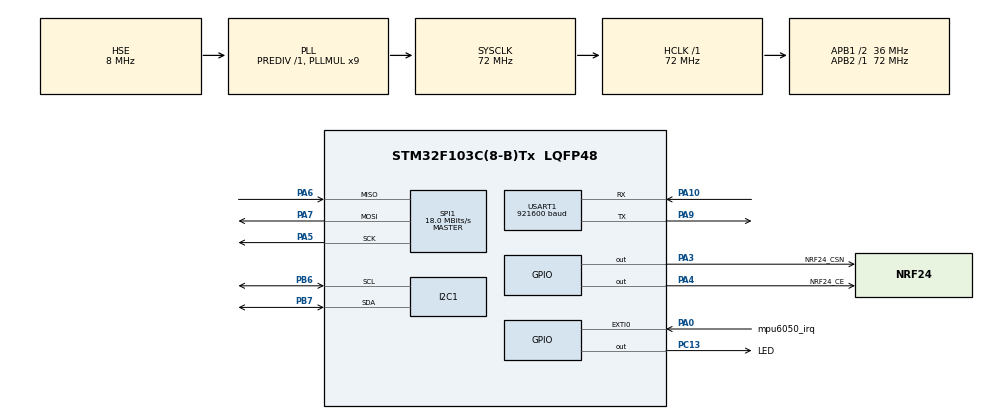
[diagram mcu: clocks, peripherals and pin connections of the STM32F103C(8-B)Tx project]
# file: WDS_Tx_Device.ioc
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I2C1.I2C_Mode=I2C_Fast
Mcu.Family=STM32F1
Mcu.Name=STM32F103C(8-B)Tx
Mcu.Package=LQFP48
NVIC.EXTI0_IRQn=true\:0\:0\:false\:false\:true\:true
NVIC.I2C1_EV_IRQn=true\:0\:0\:false\:false\:true\:true
NVIC.PriorityGroup=NVIC_PRIORITYGROUP_4
NVIC.USART1_IRQn=true\:0\:0\:false\:false\:true\:true
PA0-WKUP.GPIO_Label=mpu6050_irq
PA0-WKUP.Signal=GPXTI0
PA10.Mode=Asynchronous
PA10.Signal=USART1_RX
PA13.Mode=Serial_Wire
PA13.Signal=SYS_JTMS-SWDIO
PA14.Mode=Serial_Wire
PA14.Signal=SYS_JTCK-SWCLK
PA3.GPIO_Label=NRF24_CSN
PA3.GPIO_PuPd=GPIO_PULLUP
PA3.Signal=GPIO_Output
PA4.GPIO_Label=NRF24_CE
PA4.GPIO_PuPd=GPIO_PULLUP
PA4.Signal=GPIO_Output
PA5.Mode=Full_Duplex_Master
PA5.Signal=SPI1_SCK
PA6.GPIO_PuPd=GPIO_PULLDOWN
PA6.Mode=Full_Duplex_Master
PA6.Signal=SPI1_MISO
PA7.Mode=Full_Duplex_Master
PA7.Signal=SPI1_MOSI
PA9.Mode=Asynchronous
PA9.Signal=USART1_TX
PB6.Mode=I2C
PB6.Signal=I2C1_SCL
PB7.Mode=I2C
PB7.Signal=I2C1_SDA
PC13-TAMPER-RTC.GPIO_Label=LED
PC13-TAMPER-RTC.Signal=GPIO_Output
PC14-OSC32_IN.Mode=LSE-External-Oscillator
PC14-OSC32_IN.Signal=RCC_OSC32_IN
PC15-OSC32_OUT.Mode=LSE-External-Oscillator
PC15-OSC32_OUT.Signal=RCC_OSC32_OUT
PD0-OSC_IN.Mode=HSE-External-Oscillator
PD0-OSC_IN.Signal=RCC_OSC_IN
PD1-OSC_OUT.Mode=HSE-External-Oscillator
PD1-OSC_OUT.Signal=RCC_OSC_OUT
ProjectManager.HeapSize=0x200
ProjectManager.StackSize=0x400
ProjectManager.TargetToolchain=SW4STM32
RCC.AHBFreq_Value=72000000
RCC.APB1CLKDivider=RCC_HCLK_DIV2
RCC.APB1Freq_Value=36000000
RCC.APB1TimFreq_Value=72000000
RCC.APB2Freq_Value=72000000
RCC.APB2TimFreq_Value=72000000
RCC.HCLKFreq_Value=72000000
RCC.PLLMUL=RCC_PLL_MUL9
RCC.PLLSourceVirtual=RCC_PLLSOURCE_HSE
RCC.SYSCLKFreq_VALUE=72000000
RCC.SYSCLKSource=RCC_SYSCLKSOURCE_PLLCLK
RCC.USBFreq_Value=72000000
SPI1.BaudRatePrescaler=SPI_BAUDRATEPRESCALER_4
SPI1.CalculateBaudRate=18.0 MBits/s
SPI1.Direction=SPI_DIRECTION_2LINES
SPI1.Mode=SPI_MODE_MASTER
SPI1.VirtualType=VM_MASTER
TIM1.Period=65535
TIM1.Prescaler=719
USART1.BaudRate=921600
USART1.VirtualMode=VM_ASYNC
VP_TIM1_VS_ClockSourceINT.Mode=Internal
board=custom

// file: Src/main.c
/* USER CODE BEGIN Header */
/**
  ******************************************************************************
  * @file           : main.c
  * @brief          : Main program body
  ******************************************************************************
  ** This notice applies to any and all portions of this file
  * that are not between comment pairs USER CODE BEGIN and
  * USER CODE END. Other portions of this file, whether
  * inserted by the user or by software development tools
  * are owned by their respective copyright owners.
  *
  * COPYRIGHT(c) 2019 STMicroelectronics
  *
  * Redistribution and use in source and binary forms, with or without modification,
  * are permitted provided that the following conditions are met:
  *   1. Redistributions of source code must retain the above copyright notice,
  *      this list of conditions and the following disclaimer.
  *   2. Redistributions in binary form must reproduce the above copyright notice,
  *      this list of conditions and the following disclaimer in the documentation
  *      and/or other materials provided with the distribution.
  *   3. Neither the name of STMicroelectronics nor the names of its contributors
  *      may be used to endorse or promote products derived from this software
  *      without specific prior written permission.
  *
  * THIS SOFTWARE IS PROVIDED BY THE COPYRIGHT HOLDERS AND CONTRIBUTORS "AS IS"
  * AND ANY EXPRESS OR IMPLIED WARRANTIES, INCLUDING, BUT NOT LIMITED TO, THE
  * IMPLIED WARRANTIES OF MERCHANTABILITY AND FITNESS FOR A PARTICULAR PURPOSE ARE
  * DISCLAIMED. IN NO EVENT SHALL THE COPYRIGHT HOLDER OR CONTRIBUTORS BE LIABLE
  * FOR ANY DIRECT, INDIRECT, INCIDENTAL, SPECIAL, EXEMPLARY, OR CONSEQUENTIAL
  * DAMAGES (INCLUDING, BUT NOT LIMITED TO, PROCUREMENT OF SUBSTITUTE GOODS OR
  * SERVICES; LOSS OF USE, DATA, OR PROFITS; OR BUSINESS INTERRUPTION) HOWEVER
  * CAUSED AND ON ANY THEORY OF LIABILITY, WHETHER IN CONTRACT, STRICT LIABILITY,
  * OR TORT (INCLUDING NEGLIGENCE OR OTHERWISE) ARISING IN ANY WAY OUT OF THE USE
  * OF THIS SOFTWARE, EVEN IF ADVISED OF THE POSSIBILITY OF SUCH DAMAGE.
  *
  ******************************************************************************
  */
/* USER CODE END Header */

#include "main.h"

/* USER CODE BEGIN Includes */
#include "mpu6050.h"
#include "nrf24.h"
/* USER CODE END Includes */

I2C_HandleTypeDef hi2c1;

SPI_HandleTypeDef hspi1;

TIM_HandleTypeDef htim1;

UART_HandleTypeDef huart1;

/* USER CODE BEGIN PV */
mpu6050_t mpu;
int16_t accel_axes[3];
uint8_t new_data_flag = 0;
/* USER CODE END PV */

void SystemClock_Config(void);
static void MX_GPIO_Init(void);
static void MX_I2C1_Init(void);
static void MX_SPI1_Init(void);
static void MX_TIM1_Init(void);
static void MX_USART1_UART_Init(void);

/* USER CODE BEGIN 0 */
void HAL_GPIO_EXTI_Callback(uint16_t GPIO_Pin)
{
	new_data_flag = 1;

}

void init_nrf(void){
	uint8_t ADDR[] = { 'n', 'R', 'F', '2', '4' }; // the TX address
	nRF24_SetRFChannel(90); // set RF channel to 2490MHz
	nRF24_SetDataRate(nRF24_DR_2Mbps); // 2Mbit/s data rate
	nRF24_SetCRCScheme(nRF24_CRC_1byte); // 1-byte CRC scheme
	nRF24_SetAddrWidth(5); // address width is 5 bytes
	nRF24_SetAddr(nRF24_PIPETX, ADDR); // program TX address
	nRF24_SetAddr(nRF24_PIPE0, ADDR); // program pipe#0 RX address, must be same as TX (for ACK packets)
	nRF24_SetTXPower(nRF24_TXPWR_0dBm); // configure TX power
	nRF24_SetAutoRetr(nRF24_ARD_250us, 10); // configure auto retransmit: 10 retransmissions with pause of 2500s in between
	nRF24_EnableAA(nRF24_PIPE0); // enable Auto-ACK for pipe#0 (for ACK packets)
	nRF24_SetOperationalMode(nRF24_MODE_TX); // switch transceiver to the TX mode
	nRF24_ClearIRQFlags(); // Clear any pending IRQ flags
	nRF24_SetPowerMode(nRF24_PWR_UP); // wake-up transceiver (in case if it sleeping)
	// the nRF24 is ready for transmission, upload a payload, then pull CE pin to HIGH and it will transmit a packet...
}

#define nRF24_WAIT_TIMEOUT         (uint32_t)0x000000FF

// Result of packet transmission
typedef enum {
	nRF24_TX_ERROR  = (uint8_t)0x00, // Unknown error
	nRF24_TX_SUCCESS,                // Packet has been transmitted successfully
	nRF24_TX_TIMEOUT,                // It was timeout during packet transmit
	nRF24_TX_MAXRT                   // Transmit failed with maximum auto retransmit count
} nRF24_TXResult;

nRF24_TXResult tx_res;

// Function to transmit data packet
// input:
//   pBuf - pointer to the buffer with data to transmit
//   length - length of the data buffer in bytes
// return: one of nRF24_TX_xx values
nRF24_TXResult nRF24_TransmitPacket(uint8_t *pBuf, uint8_t length) {
	volatile uint32_t wait = nRF24_WAIT_TIMEOUT;
	uint8_t status;

	// Deassert the CE pin (in case if it still high)
	nRF24_CE_L();

	// Transfer a data from the specified buffer to the TX FIFO
	nRF24_WritePayload(pBuf, length);

	// Start a transmission by asserting CE pin (must be held at least 10us)
	nRF24_CE_H();

	// Poll the transceiver status register until one of the following flags will be set:
	//   TX_DS  - means the packet has been transmitted
	//   MAX_RT - means the maximum number of TX retransmits happened
	// note: this solution is far from perfect, better to use IRQ instead of polling the status
	do {
		status = nRF24_GetStatus();
		if (status & (nRF24_FLAG_TX_DS | nRF24_FLAG_MAX_RT)) {
			break;
		}
	} while (wait--);

	// Deassert the CE pin (Standby-II --> Standby-I)
	nRF24_CE_L();

	if (!wait) {
		// Timeout
		return nRF24_TX_TIMEOUT;
	}

	// Clear pending IRQ flags
    nRF24_ClearIRQFlags();

	if (status & nRF24_FLAG_MAX_RT) {
		// Auto retransmit counter exceeds the programmed maximum limit (FIFO is not removed)
		return nRF24_TX_MAXRT;
	}

	if (status & nRF24_FLAG_TX_DS) {
		// Successful transmission
		return nRF24_TX_SUCCESS;
	}

	// Some banana happens, a payload remains in the TX FIFO, flush it
	nRF24_FlushTX();

	return nRF24_TX_ERROR;
}
/* USER CODE END 0 */

int main(void)
{
  /* USER CODE BEGIN 1 */
	uint32_t cycle_time = 0;
	uint8_t data[512];
	uint32_t data_len = 0;
  /* USER CODE END 1 */

  /* MCU Configuration--------------------------------------------------------*/

  /* Reset of all peripherals, Initializes the Flash interface and the Systick. */
  HAL_Init();

  /* Configure the system clock */
  SystemClock_Config();

  /* Initialize all configured peripherals */
  MX_GPIO_Init();
  MX_I2C1_Init();
  MX_SPI1_Init();
  MX_TIM1_Init();
  MX_USART1_UART_Init();
  /* USER CODE BEGIN 2 */

  MPU6050_Configuraton config;
  config.device = MPU6050_Device_0;
  config.sample_rate = MPU6050_SampleRate_250Hz;
  config.accelerometer = MPU6050_Accelerometer_4G;
  config.gyroscope = MPU6050_Gyroscope_1000s;

  mpu6050_init(&mpu, &hi2c1, config);
  mpu6050_start(&mpu);

  MPU6050_Interrupt_Set(&mpu, MPU6050_InterruptFlag_DATA_RDY_EN);

  // TIM 1 - 100KHz - 0.01ms resolution

  TIM1->CNT = 0;
  HAL_TIM_Base_Start(&htim1);

  // nrf config
  uint32_t packet_losts = 0;
  uint8_t otx;
  uint8_t otx_plos_cnt;
  uint8_t otx_arc_cnt;
  init_nrf();

  /* USER CODE END 2 */

  /* Infinite loop */
  /* USER CODE BEGIN WHILE */
  while (1)
  {
		if (new_data_flag) {
			new_data_flag = 0;

			MPU6050_InterruptFlag int_flag = 0;
			;
			if (MPU6050_Interrupt_Read(&mpu, &int_flag) == MPU6050_Status_Ok) {
				if (int_flag == MPU6050_InterruptFlag_DATA_RDY_EN) {
					// Read acc & gyro data
					MPU6050_Read_Accelerometer(&mpu, accel_axes);

				}
			}

			// nrf part
			tx_res = nRF24_TransmitPacket((int8_t*)accel_axes, sizeof(accel_axes));
			otx = nRF24_GetRetransmitCounters();
			otx_plos_cnt = (otx & nRF24_MASK_PLOS_CNT ) >> 4; // packet lost counter
			otx_arc_cnt = (otx & nRF24_MASK_ARC_CNT ); // auto retransmissions couter

			switch (tx_res) {
			case nRF24_TX_SUCCESS:
				// success;
				break;
			case nRF24_TX_TIMEOUT:
				// timeout
				break;
			case nRF24_TX_MAXRT:
				// max retransmission
				packet_losts += otx_plos_cnt;
				nRF24_ResetPLOS();
				break;
			default:
				// some banaas happend
				break;
			}

			// debug stuff
			/*
			 data_len = sprintf(data,
			 "Cycle time: %fms; ACC: x: %d, y: %d, z: %d\r\n",
			 cycle_time / 100.0f, accel_axes[0], accel_axes[1],
			 accel_axes[2]);

			 HAL_UART_Transmit(&huart1, data, data_len, 500);

			 */

			HAL_GPIO_TogglePin(LED_GPIO_Port, LED_Pin);
			cycle_time = TIM1->CNT;
			TIM1->CNT = 0;
		}
    /* USER CODE END WHILE */

  }
}

void SystemClock_Config(void)
{
  RCC_OscInitTypeDef RCC_OscInitStruct = {0};
  RCC_ClkInitTypeDef RCC_ClkInitStruct = {0};

  /**Initializes the CPU, AHB and APB busses clocks
  */
  RCC_OscInitStruct.OscillatorType = RCC_OSCILLATORTYPE_HSE;
  RCC_OscInitStruct.HSEState = RCC_HSE_ON;
  RCC_OscInitStruct.HSEPredivValue = RCC_HSE_PREDIV_DIV1;
  RCC_OscInitStruct.HSIState = RCC_HSI_ON;
  RCC_OscInitStruct.PLL.PLLState = RCC_PLL_ON;
  RCC_OscInitStruct.PLL.PLLSource = RCC_PLLSOURCE_HSE;
  RCC_OscInitStruct.PLL.PLLMUL = RCC_PLL_MUL9;
  if (HAL_RCC_OscConfig(&RCC_OscInitStruct) != HAL_OK)
  {
    Error_Handler();
  }
  /**Initializes the CPU, AHB and APB busses clocks
  */
  RCC_ClkInitStruct.ClockType = RCC_CLOCKTYPE_HCLK|RCC_CLOCKTYPE_SYSCLK
                              |RCC_CLOCKTYPE_PCLK1|RCC_CLOCKTYPE_PCLK2;
  RCC_ClkInitStruct.SYSCLKSource = RCC_SYSCLKSOURCE_PLLCLK;
  RCC_ClkInitStruct.AHBCLKDivider = RCC_SYSCLK_DIV1;
  RCC_ClkInitStruct.APB1CLKDivider = RCC_HCLK_DIV2;
  RCC_ClkInitStruct.APB2CLKDivider = RCC_HCLK_DIV1;

  if (HAL_RCC_ClockConfig(&RCC_ClkInitStruct, FLASH_LATENCY_2) != HAL_OK)
  {
    Error_Handler();
  }
}

static void MX_I2C1_Init(void)
{

  hi2c1.Instance = I2C1;
  hi2c1.Init.ClockSpeed = 400000;
  hi2c1.Init.DutyCycle = I2C_DUTYCYCLE_2;
  hi2c1.Init.OwnAddress1 = 0;
  hi2c1.Init.AddressingMode = I2C_ADDRESSINGMODE_7BIT;
  hi2c1.Init.DualAddressMode = I2C_DUALADDRESS_DISABLE;
  hi2c1.Init.OwnAddress2 = 0;
  hi2c1.Init.GeneralCallMode = I2C_GENERALCALL_DISABLE;
  hi2c1.Init.NoStretchMode = I2C_NOSTRETCH_DISABLE;
  if (HAL_I2C_Init(&hi2c1) != HAL_OK)
  {
    Error_Handler();
  }

}

static void MX_SPI1_Init(void)
{

  /* SPI1 parameter configuration*/
  hspi1.Instance = SPI1;
  hspi1.Init.Mode = SPI_MODE_MASTER;
  hspi1.Init.Direction = SPI_DIRECTION_2LINES;
  hspi1.Init.DataSize = SPI_DATASIZE_8BIT;
  hspi1.Init.CLKPolarity = SPI_POLARITY_LOW;
  hspi1.Init.CLKPhase = SPI_PHASE_1EDGE;
  hspi1.Init.NSS = SPI_NSS_SOFT;
  hspi1.Init.BaudRatePrescaler = SPI_BAUDRATEPRESCALER_4;
  hspi1.Init.FirstBit = SPI_FIRSTBIT_MSB;
  hspi1.Init.TIMode = SPI_TIMODE_DISABLE;
  hspi1.Init.CRCCalculation = SPI_CRCCALCULATION_DISABLE;
  hspi1.Init.CRCPolynomial = 10;
  if (HAL_SPI_Init(&hspi1) != HAL_OK)
  {
    Error_Handler();
  }

}

static void MX_TIM1_Init(void)
{

  TIM_ClockConfigTypeDef sClockSourceConfig = {0};
  TIM_MasterConfigTypeDef sMasterConfig = {0};

  htim1.Instance = TIM1;
  htim1.Init.Prescaler = 719;
  htim1.Init.CounterMode = TIM_COUNTERMODE_UP;
  htim1.Init.Period = 65535;
  htim1.Init.ClockDivision = TIM_CLOCKDIVISION_DIV1;
  htim1.Init.RepetitionCounter = 0;
  htim1.Init.AutoReloadPreload = TIM_AUTORELOAD_PRELOAD_DISABLE;
  if (HAL_TIM_Base_Init(&htim1) != HAL_OK)
  {
    Error_Handler();
  }
  sClockSourceConfig.ClockSource = TIM_CLOCKSOURCE_INTERNAL;
  if (HAL_TIM_ConfigClockSource(&htim1, &sClockSourceConfig) != HAL_OK)
  {
    Error_Handler();
  }
  sMasterConfig.MasterOutputTrigger = TIM_TRGO_RESET;
  sMasterConfig.MasterSlaveMode = TIM_MASTERSLAVEMODE_DISABLE;
  if (HAL_TIMEx_MasterConfigSynchronization(&htim1, &sMasterConfig) != HAL_OK)
  {
    Error_Handler();
  }

}

static void MX_USART1_UART_Init(void)
{

  huart1.Instance = USART1;
  huart1.Init.BaudRate = 921600;
  huart1.Init.WordLength = UART_WORDLENGTH_8B;
  huart1.Init.StopBits = UART_STOPBITS_1;
  huart1.Init.Parity = UART_PARITY_NONE;
  huart1.Init.Mode = UART_MODE_TX_RX;
  huart1.Init.HwFlowCtl = UART_HWCONTROL_NONE;
  huart1.Init.OverSampling = UART_OVERSAMPLING_16;
  if (HAL_UART_Init(&huart1) != HAL_OK)
  {
    Error_Handler();
  }

}

static void MX_GPIO_Init(void)
{
  GPIO_InitTypeDef GPIO_InitStruct = {0};

  /* GPIO Ports Clock Enable */
  __HAL_RCC_GPIOC_CLK_ENABLE();
  __HAL_RCC_GPIOD_CLK_ENABLE();
  __HAL_RCC_GPIOA_CLK_ENABLE();
  __HAL_RCC_GPIOB_CLK_ENABLE();

  /*Configure GPIO pin Output Level */
  HAL_GPIO_WritePin(LED_GPIO_Port, LED_Pin, GPIO_PIN_RESET);

  /*Configure GPIO pin Output Level */
  HAL_GPIO_WritePin(GPIOA, NRF24_CSN_Pin|NRF24_CE_Pin, GPIO_PIN_RESET);

  /*Configure GPIO pin : LED_Pin */
  GPIO_InitStruct.Pin = LED_Pin;
  GPIO_InitStruct.Mode = GPIO_MODE_OUTPUT_PP;
  GPIO_InitStruct.Pull = GPIO_NOPULL;
  GPIO_InitStruct.Speed = GPIO_SPEED_FREQ_LOW;
  HAL_GPIO_Init(LED_GPIO_Port, &GPIO_InitStruct);

  /*Configure GPIO pin : mpu6050_irq_Pin */
  GPIO_InitStruct.Pin = mpu6050_irq_Pin;
  GPIO_InitStruct.Mode = GPIO_MODE_IT_RISING;
  GPIO_InitStruct.Pull = GPIO_NOPULL;
  HAL_GPIO_Init(mpu6050_irq_GPIO_Port, &GPIO_InitStruct);

  /*Configure GPIO pins : NRF24_CSN_Pin NRF24_CE_Pin */
  GPIO_InitStruct.Pin = NRF24_CSN_Pin|NRF24_CE_Pin;
  GPIO_InitStruct.Mode = GPIO_MODE_OUTPUT_PP;
  GPIO_InitStruct.Pull = GPIO_PULLUP;
  GPIO_InitStruct.Speed = GPIO_SPEED_FREQ_LOW;
  HAL_GPIO_Init(GPIOA, &GPIO_InitStruct);

  /* EXTI interrupt init*/
  HAL_NVIC_SetPriority(EXTI0_IRQn, 0, 0);
  HAL_NVIC_EnableIRQ(EXTI0_IRQn);

}

void Error_Handler(void)
{
}

/************************ (C) COPYRIGHT STMicroelectronics *****END OF FILE****/
